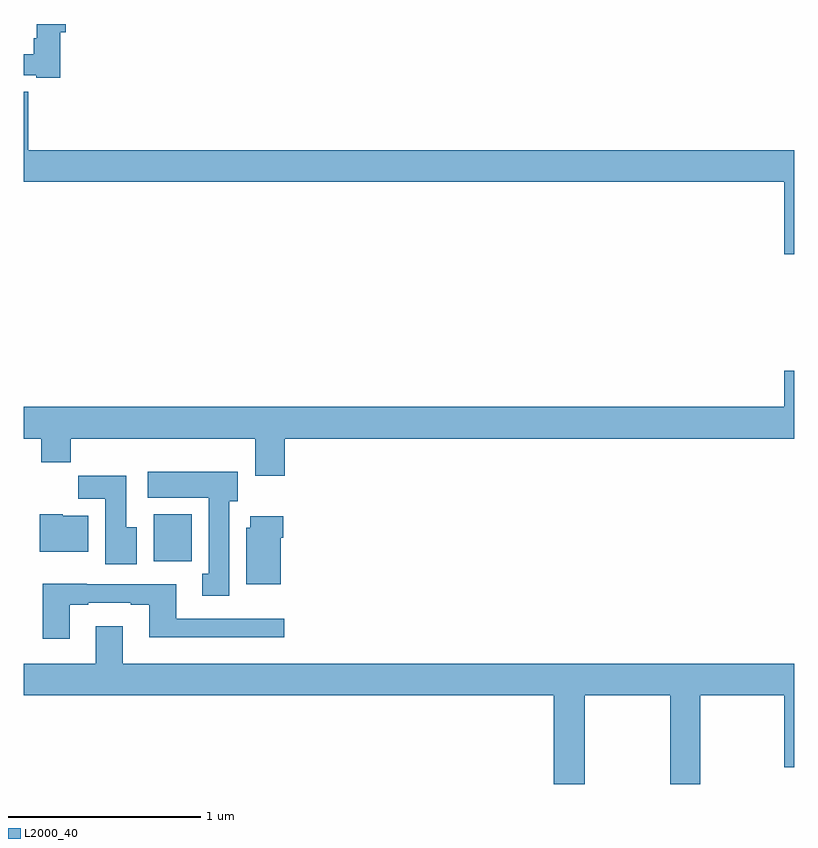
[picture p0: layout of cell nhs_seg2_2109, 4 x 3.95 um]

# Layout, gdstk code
import gdstk
lib = gdstk.Library(unit=1e-6, precision=1e-09)
def R(c, l, rs):  # rectangles x0, y0, x1, y1
    for r in rs: c.add(gdstk.rectangle(r[:2], r[2:], *l))
def P(c, l, *ps):  # polygons
    for p in ps: c.add(gdstk.Polygon(p, *l))
L2000_40 = (2000, 40)

nhs_seg2_2109 = lib.new_cell('nhs_seg2_2109')
R(nhs_seg2_2109, L2000_40, [(221.675,635.012,221.872,635.254)])
P(nhs_seg2_2109, L2000_40, [(221.189,637.757),(221.219,637.757),(221.219,637.8),(221.068,637.8),(221.068,637.726),(221.053,637.726),(221.053,637.642),(221,637.642),(221,637.533),(221.066,637.533),(221.066,637.521),(221.189,637.521)],
  [(225,637.144),(221.024,637.144),(221.024,637.448),(221,637.448),(221,636.98),(224.948,636.98),(224.948,636.606),(225,636.606)],
  [(222.356,635.648),(225,635.648),(225,636.001),(224.948,636.001),(224.948,635.812),(221,635.812),(221,635.648),(221.092,635.648),(221.092,635.524),(221.243,635.524),(221.243,635.648),(222.203,635.648),(222.203,635.454),(222.356,635.454)],
  [(222.067,635.322),(222.112,635.322),(222.112,635.476),(221.643,635.476),(221.643,635.342),(221.96,635.342),(221.96,634.946),(221.927,634.946),(221.927,634.833),(222.067,634.833)],
  [(221.587,635.188),(221.533,635.188),(221.533,635.455),(221.284,635.455),(221.284,635.336),(221.423,635.336),(221.423,634.995),(221.587,634.995)],
  [(221.335,635.248),(221.202,635.248),(221.202,635.254),(221.084,635.254),(221.084,635.06),(221.335,635.06)],
  [(222.334,635.132),(222.347,635.132),(222.347,635.245),(222.176,635.245),(222.176,635.184),(222.155,635.184),(222.155,634.892),(222.334,634.892)],
  [(221.239,634.785),(221.335,634.785),(221.335,634.797),(221.555,634.797),(221.555,634.785),(221.651,634.785),(221.651,634.616),(222.352,634.616),(222.352,634.713),(221.791,634.713),(221.791,634.893),(221.327,634.893),(221.327,634.894),(221.099,634.894),(221.099,634.608),(221.239,634.608)],
  [(223.911,634.316),(224.356,634.316),(224.356,633.855),(224.511,633.855),(224.511,634.316),(224.948,634.316),(224.948,633.942),(225,633.942),(225,634.48),(221.515,634.48),(221.515,634.675),(221.375,634.675),(221.375,634.48),(221,634.48),(221,634.316),(223.751,634.316),(223.751,633.855),(223.911,633.855)])

lib.write_gds('nhs_seg2_2109.gds')
